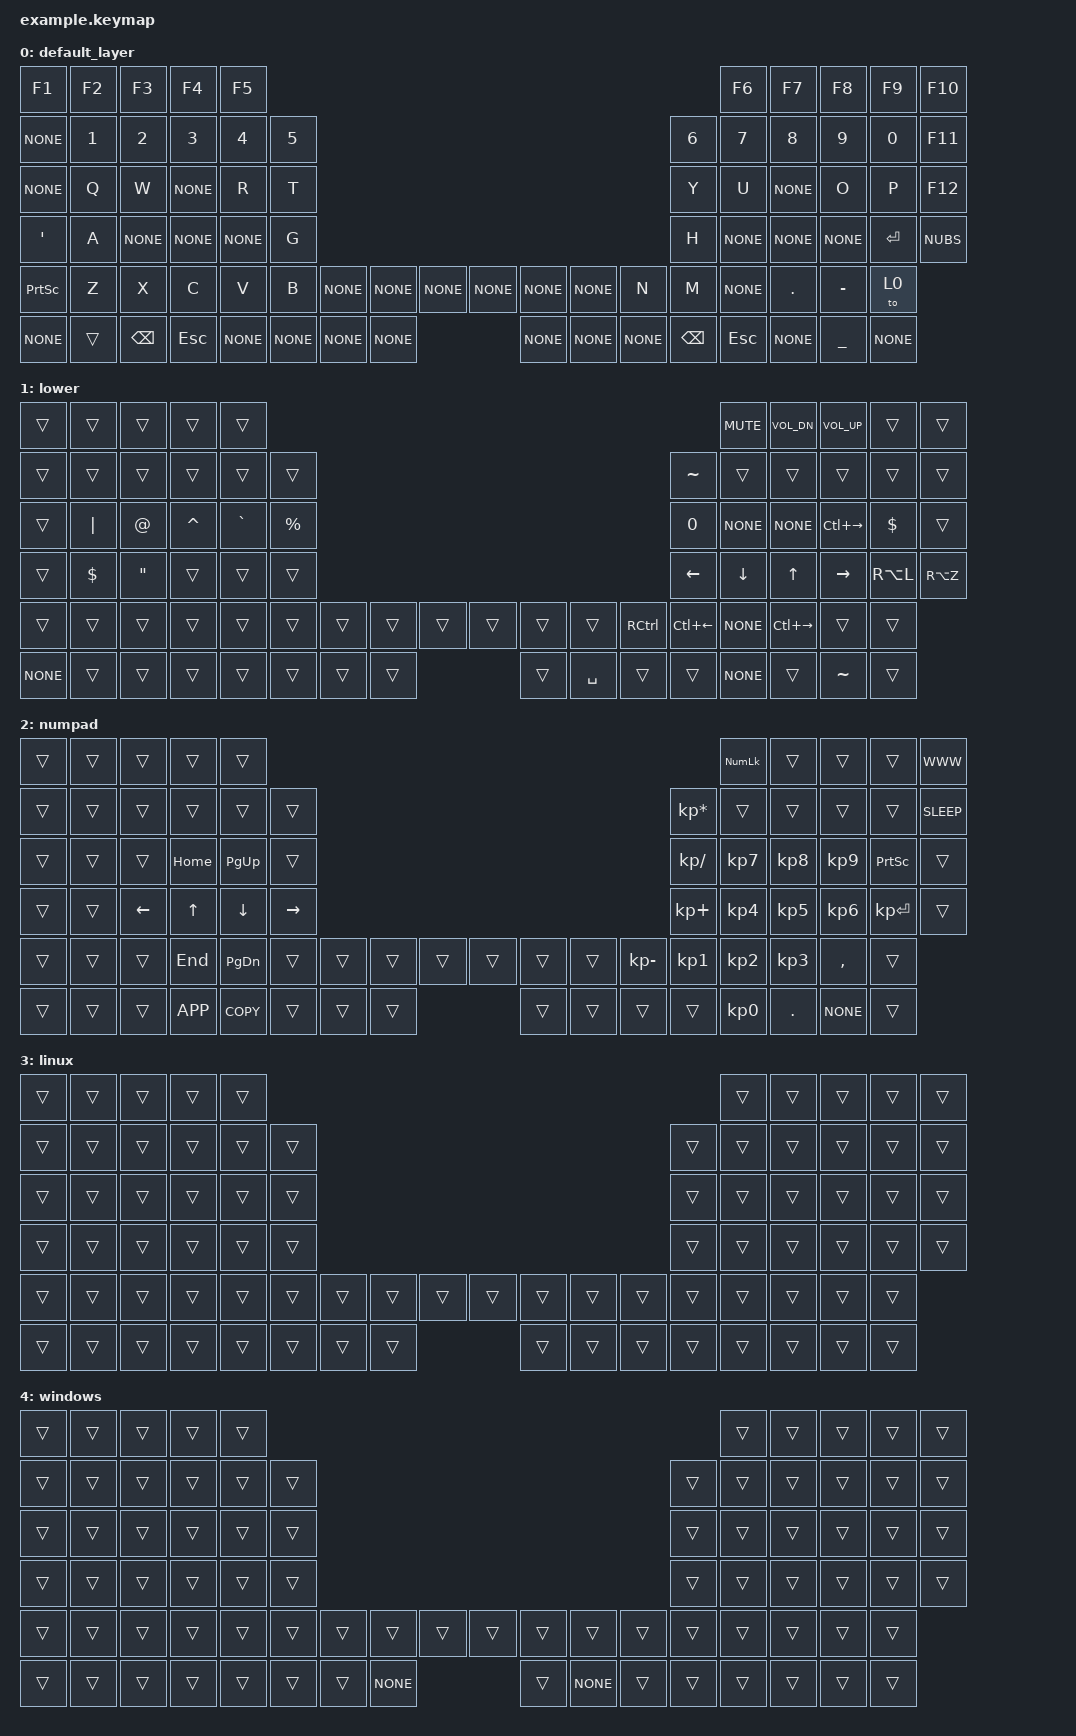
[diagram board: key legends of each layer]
#include <behaviors.dtsi>
#include <dt-bindings/zmk/keys.h>

//#include "../zmk-nodefree-config/helper.h"
//#include "../zmk-nodefree-config/keypos_def/keypos_36keys.h"
//#include "../zmk-nodefree-config/international_chars/german.dtsi"
#include "helper.h"
#include "keypos_def/keypos_36keys.h"
#include "international_chars/german.dtsi"

/* layer and key shortcuts */

#define ___ &trans

#define BASE 0
#define LOWER 1
#define NUMPAD 2
#define LINUX 3     /* Linux specific layer */
#define WINDOWS 4   /* Windows specific layer */

/* custom behaviors */

// homerow mods
ZMK_BEHAVIOR(hrm, hold_tap,
    flavor = "balanced";
    tapping-term-ms = <280>;
    quick-tap-ms = <125>;
    global-quick-tap;
    bindings = <&kp>, <&kp>;
)

// tap: sticky shift | double tap: capsword
ZMK_BEHAVIOR(ss_cw, tap_dance,
    tapping-term-ms = <200>;
    bindings = <&sk LSHFT>, <&caps_word>;
)

// tap: backspace | shift + tap: delete | hold: num layer
ZMK_BEHAVIOR(bs_del_num, mod_morph,
    bindings = <&lt NUM BSPC>, <&kp DEL>;
    mods = <(MOD_LSFT|MOD_RSFT)>;
)

// windows sleep macro
ZMK_BEHAVIOR(win_sleep, macro,
    wait-ms = <100>;
    tap-ms = <5>;
    bindings = <&kp LG(X) &kp U &kp S>;
)

// euro sign
ZMK_UNICODE_SINGLE(euro_sign, N2, N0, A, C)  // €

// replace a/o/u/s with German umlauts when NAV and NUM are held jointly
ZMK_CONDITIONAL_LAYER(NAV NUM, GER)

// combos
#undef COMBO_TERM
#define COMBO_TERM 40  // timeout of 40ms (default is 30ms if omitted)
ZMK_COMBO(combo_sleep,  &win_sleep, RT3 RT4, NAV)  // custom sleep macro, only active on NAV layer
ZMK_COMBO(combo_copy,   &kp LC(C),  LB2 LB3, ALL)  // Ctrl + C, active on all layers
ZMK_COMBO(combo_paste,  &kp LC(V),  LB1 LB2, ALL)  // Ctrl + V, active on all layers

/* keymap */

ZMK_LAYER(default_layer,
// ╭─────────────┬─────────────┬─────────────┬─────────────┬─────────────┬─────────────╮                                                                                             ╭─────────────┬─────────────┬─────────────┬─────────────┬─────────────┬─────────────╮
     &kp F1        &kp F2        &kp  F3       &kp F4        &kp F5                                                                                                                                  &kp F6        &kp F7        &kp F8        &kp F9        &kp F10
// ├─────────────┼─────────────┼─────────────┼─────────────┼─────────────┼─────────────┤                                                                                             ├─────────────┼─────────────┼─────────────┼─────────────┼─────────────┼─────────────┤
     &NONE         &kp N1        &kp  N2       &kp N3        &kp N4        &kp N5                                                                                                      &kp N6        &kp N7        &kp N8        &kp N9        &kp N0        &kp F11
// ├─────────────┼─────────────┼─────────────┼─────────────┼─────────────┼─────────────┤                                                                                             ├─────────────┼─────────────┼─────────────┼─────────────┼─────────────┼─────────────┤
     &NONE         &kp Q         &kp W         &NONE         &kp R         &kp T                                                                                                       &kp Y         &kp U         &NONE   &kp O         &kp P         &kp F12
// ├─────────────┼─────────────┼─────────────┼─────────────┼─────────────┼─────────────┤                                                                                             ├─────────────┼─────────────┼─────────────┼─────────────┼─────────────┼─────────────┤
     &kp SQT       &kp A         &NONE         &NONE         &NONE         &kp G                                                                                                       &kp H         &NONE         &NONE         &NONE         &kp RETURN    &kp NUBS
// ├─────────────┼─────────────┼─────────────┼─────────────┼─────────────┼─────────────┤ ╭─────────────┬──────────────┬──────────────╮ ╭─────────────┬──────────────┬──────────────╮ ├─────────────┼─────────────┼─────────────┼─────────────┼─────────────┼─────────────┤
     &kp PSCRN     &kp Z         &kp X         &kp C         &kp V         &kp B           &NONE        &NONE         &NONE           &NONE        &NONE         &NONE           &kp N         &kp M         &NONE &kp DOT      &kp MINUS     &to 0
// ├─────────────┼─────────────┼─────────────┼─────────────┼─────────────┼─────────────┤ ├─────────────┼──────────────┼──────────────┤ ├─────────────┼──────────────┼──────────────┤ ├─────────────┼─────────────┼─────────────┼─────────────┼─────────────┼─────────────┤
     &NONE         &trans        &kp BSPC      &kp ESC       &NONE                &NONE        &NONE         &NONE           &NONE        &NONE         &NONE                         &kp BSPC      &kp ESCAPE    &NONE   &kp UNDER     &NONE
// ╰─────────────┼─────────────┼─────────────┼─────────────┼─────────────┼─────────────╯ ╰─────────────┴──────────────┴──────────────╯ ╰─────────────┴──────────────┴──────────────╯ ╰─────────────┼─────────────┼─────────────┼─────────────┼─────────────┼─────────────╯
)

ZMK_LAYER(lower,
// ╭─────────────┬─────────────┬─────────────┬─────────────┬─────────────┬─────────────╮                                                                                             ╭─────────────┬─────────────┬─────────────┬─────────────┬─────────────┬─────────────╮
     &trans        &trans        &trans        &trans        &trans                                                                                                                                  &kp C_MUTE    &kp C_VOL_DN  &kp C_VOL_UP  &trans        &trans
// ├─────────────┼─────────────┼─────────────┼─────────────┼─────────────┼─────────────┤                                                                                             ├─────────────┼─────────────┼─────────────┼─────────────┼─────────────┼─────────────┤
     &trans        &trans        &trans        &trans        &trans        &trans                                                                                                      &kp TILDE     &trans        &trans        &trans        &trans        &trans
// ├─────────────┼─────────────┼─────────────┼─────────────┼─────────────┼─────────────┤                                                                                             ├─────────────┼─────────────┼─────────────┼─────────────┼─────────────┼─────────────┤
     &trans        &kp PIPE      &kp AT        &kp CARET     &kp GRAVE     &kp PRCNT                                                                                                   &kp N0        &NONE  &NONE  &kp LC(RIGHT)  &kp DOLLAR    &trans
// ├─────────────┼─────────────┼─────────────┼─────────────┼─────────────┼─────────────┤                                                                                             ├─────────────┼─────────────┼─────────────┼─────────────┼─────────────┼─────────────┤
     &trans        &kp DOLLAR    &kp DQT       &trans        &trans        &trans                                                                                                      &kp LEFT      &kp DOWN      &kp UP        &kp RIGHT     &kp RA(L)     &kp RA(Z)
// ├─────────────┼─────────────┼─────────────┼─────────────┼─────────────┼─────────────┤ ╭─────────────┬──────────────┬──────────────╮ ╭─────────────┬──────────────┬──────────────╮ ├─────────────┼─────────────┼─────────────┼─────────────┼─────────────┼─────────────┤
     &trans        &trans        &trans        &trans        &trans        &trans          &trans        &trans         &trans           &trans        &trans         &trans           &kp RCTRL     &kp LC(LEFT)  &NONE        &kp LC(RIGHT) &trans        &trans
// ├─────────────┼─────────────┼─────────────┼─────────────┼─────────────┼─────────────┤ ├─────────────┼──────────────┼──────────────┤ ├─────────────┼──────────────┼──────────────┤ ├─────────────┼─────────────┼─────────────┼─────────────┼─────────────┼─────────────┤
     &NONE         &trans        &trans        &trans        &trans                        &trans        &trans         &trans           &trans        &kp SPACE      &trans                         &trans        &NONE        &trans        &kp TILDE     &trans
// ╰─────────────┴─────────────┴─────────────┴─────────────┴─────────────┴─────────────╯ ╰─────────────┴──────────────┴──────────────╯ ╰─────────────┴──────────────┴──────────────╯ ╰─────────────┴─────────────┴─────────────┴─────────────┴─────────────┴─────────────╯
)

ZMK_LAYER(numpad,
// ╭─────────────┬─────────────┬─────────────┬─────────────┬─────────────┬─────────────╮                                                                                             ╭─────────────┬─────────────┬─────────────┬─────────────┬─────────────┬─────────────╮
     &trans        &trans        &trans        &trans        &trans                                                                                                                                    &kp KP_NUM   &trans       &trans        &trans        &kp K_WWW
// ├─────────────┼─────────────┼─────────────┼─────────────┼─────────────┼─────────────┤                                                                                             ├─────────────┼─────────────┼─────────────┼─────────────┼─────────────┼─────────────┤
     &trans        &trans        &trans        &trans        &trans        &trans                                                                                                      &kp KP_MULTIPLY &trans       &trans       &trans        &trans        &kp K_SLEEP
// ├─────────────┼─────────────┼─────────────┼─────────────┼─────────────┼─────────────┤                                                                                             ├─────────────┼─────────────┼─────────────┼─────────────┼─────────────┼─────────────┤
     &trans        &trans        &trans        &kp HOME      &kp PG_UP     &trans                                                                                                      &kp KP_SLASH    &kp KP_N7    &kp KP_N8    &kp KP_N9     &kp PSCRN     &trans
// ├─────────────┼─────────────┼─────────────┼─────────────┼─────────────┼─────────────┤                                                                                             ├─────────────┼─────────────┼─────────────┼─────────────┼─────────────┼─────────────┤
     &trans        &trans        &kp LEFT      &kp UP        &kp DOWN      &kp RIGHT                                                                                                   &kp KP_PLUS     &kp KP_N4    &kp KP_N5    &kp KP_N6     &kp KP_ENTER  &trans
// ├─────────────┼─────────────┼─────────────┼─────────────┼─────────────┼─────────────┤ ╭─────────────┬──────────────┬──────────────╮ ╭─────────────┬──────────────┬──────────────╮ ├─────────────┼─────────────┼─────────────┼─────────────┼─────────────┼─────────────┤
     &trans        &trans        &trans        &kp END       &kp PG_DN     &trans          &trans        &trans         &trans           &trans        &trans         &trans           &kp KP_MINUS    &kp KP_N1    &kp KP_N2    &kp KP_N3     &kp COMMA     &trans
// ├─────────────┼─────────────┼─────────────┼─────────────┼─────────────┼─────────────┤ ├─────────────┼──────────────┼──────────────┤ ├─────────────┼──────────────┼──────────────┤ ├─────────────┼─────────────┼─────────────┼─────────────┼─────────────┼─────────────┤
     &trans        &trans        &trans        &kp K_APP     &kp K_COPY                    &trans        &trans         &trans           &trans        &trans         &trans                           &trans       &kp KP_N0    &kp DOT       &NONE   &trans
// ╰─────────────┴─────────────┴─────────────┴─────────────┴─────────────┴─────────────╯ ╰─────────────┴──────────────┴──────────────╯ ╰─────────────┴──────────────┴──────────────╯ ╰─────────────┴─────────────┴─────────────┴─────────────┴─────────────┴─────────────╯
)

ZMK_LAYER(linux,
// ╭─────────────┬─────────────┬─────────────┬─────────────┬─────────────┬─────────────╮                                                                                             ╭─────────────┬─────────────┬─────────────┬─────────────┬─────────────┬─────────────╮
     &trans        &trans        &trans        &trans        &trans                                                                                                                                  &trans        &trans        &trans        &trans        &trans
// ├─────────────┼─────────────┼─────────────┼─────────────┼─────────────┼─────────────┤                                                                                             ├─────────────┼─────────────┼─────────────┼─────────────┼─────────────┼─────────────┤
     &trans        &trans        &trans        &trans        &trans        &trans                                                                                                      &trans        &trans        &trans        &trans        &trans        &trans
// ├─────────────┼─────────────┼─────────────┼─────────────┼─────────────┼─────────────┤                                                                                             ├─────────────┼─────────────┼─────────────┼─────────────┼─────────────┼─────────────┤
     &trans        &trans        &trans        &trans        &trans        &trans                                                                                                      &trans        &trans        &trans        &trans        &trans        &trans
// ├─────────────┼─────────────┼─────────────┼─────────────┼─────────────┼─────────────┤                                                                                             ├─────────────┼─────────────┼─────────────┼─────────────┼─────────────┼─────────────┤
     &trans        &trans        &trans        &trans        &trans        &trans                                                                                                      &trans        &trans        &trans        &trans        &trans        &trans
// ├─────────────┼─────────────┼─────────────┼─────────────┼─────────────┼─────────────┤ ╭─────────────┬──────────────┬──────────────╮ ╭─────────────┬──────────────┬──────────────╮ ├─────────────┼─────────────┼─────────────┼─────────────┼─────────────┼─────────────┤
     &trans        &trans        &trans        &trans        &trans        &trans          &trans        &trans         &trans           &trans        &trans         &trans           &trans        &trans        &trans        &trans        &trans        &trans
// ├─────────────┼─────────────┼─────────────┼─────────────┼─────────────┼─────────────┤ ├─────────────┼──────────────┼──────────────┤ ├─────────────┼──────────────┼──────────────┤ ├─────────────┼─────────────┼─────────────┼─────────────┼─────────────┼─────────────┤
     &trans        &trans        &trans        &trans        &trans                        &trans        &trans         &trans           &trans        &trans         &trans                         &trans        &trans        &trans        &trans        &trans
// ╰─────────────┴─────────────┴─────────────┴─────────────┴─────────────┴─────────────╯ ╰─────────────┴──────────────┴──────────────╯ ╰─────────────┴──────────────┴──────────────╯ ╰─────────────┴─────────────┴─────────────┴─────────────┴─────────────┴─────────────╯
)

/*TODO: Add custom Windows commands */
ZMK_LAYER(windows,
// ╭─────────────┬─────────────┬─────────────┬─────────────┬─────────────┬─────────────╮                                                                                             ╭─────────────┬─────────────┬─────────────┬─────────────┬─────────────┬─────────────╮
     &trans        &trans        &trans        &trans        &trans                                                                                                                                  &trans        &trans        &trans        &trans        &trans
// ├─────────────┼─────────────┼─────────────┼─────────────┼─────────────┼─────────────┤                                                                                             ├─────────────┼─────────────┼─────────────┼─────────────┼─────────────┼─────────────┤
     &trans        &trans        &trans        &trans        &trans        &trans                                                                                                      &trans        &trans        &trans        &trans        &trans        &trans
// ├─────────────┼─────────────┼─────────────┼─────────────┼─────────────┼─────────────┤                                                                                             ├─────────────┼─────────────┼─────────────┼─────────────┼─────────────┼─────────────┤
     &trans        &trans        &trans        &trans        &trans        &trans                                                                                                      &trans        &trans        &trans        &trans        &trans        &trans
// ├─────────────┼─────────────┼─────────────┼─────────────┼─────────────┼─────────────┤                                                                                             ├─────────────┼─────────────┼─────────────┼─────────────┼─────────────┼─────────────┤
     &trans        &trans        &trans        &trans        &trans        &trans                                                                                                      &trans        &trans        &trans        &trans        &trans        &trans
// ├─────────────┼─────────────┼─────────────┼─────────────┼─────────────┼─────────────┤ ╭─────────────┬──────────────┬──────────────╮ ╭─────────────┬──────────────┬──────────────╮ ├─────────────┼─────────────┼─────────────┼─────────────┼─────────────┼─────────────┤
     &trans        &trans        &trans        &trans        &trans        &trans          &trans        &trans         &trans           &trans        &trans         &trans           &trans        &trans        &trans        &trans        &trans        &trans
// ├─────────────┼─────────────┼─────────────┼─────────────┼─────────────┼─────────────┤ ├─────────────┼──────────────┼──────────────┤ ├─────────────┼──────────────┼──────────────┤ ├─────────────┼─────────────┼─────────────┼─────────────┼─────────────┼─────────────┤
     &trans        &trans        &trans        &trans        &trans                        &trans        &trans         &NONE       &trans        &NONE     &trans                         &trans        &trans        &trans        &trans        &trans
// ╰─────────────┴─────────────┴─────────────┴─────────────┴─────────────┴─────────────╯ ╰─────────────┴──────────────┴──────────────╯ ╰─────────────┴──────────────┴──────────────╯ ╰─────────────┴─────────────┴─────────────┴─────────────┴─────────────┴─────────────╯
)
